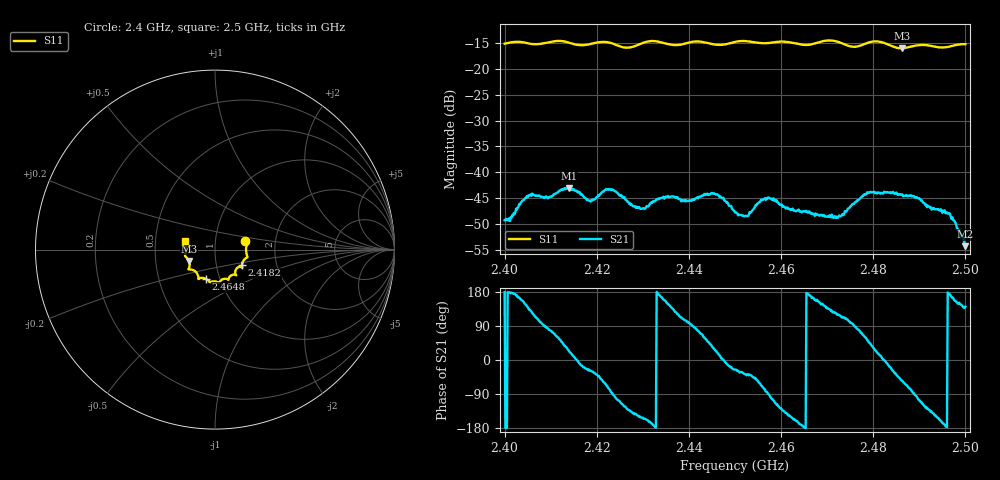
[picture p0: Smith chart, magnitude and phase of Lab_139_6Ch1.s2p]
# Hz S RI R 50
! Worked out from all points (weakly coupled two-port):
!   601 points, 2.4 GHz to 2.5 GHz, reference 50 ohm
!   highest |S21| = -42.99 dB at 2.414 GHz (marker M1); lowest = -54.3 dB at 2.5 GHz (marker M2)
!   lowest |S11| = -16.0 dB at 2.4862 GHz (marker M3), VSWR 1.38, Z = 37.1 - j4.8 ohm
!   |S11| at or under -10 dB: start of sweep to end of sweep
!   S12 and S22 are empty: the file has one direction only
!   S11 on the Smith chart (normalised r, x): 2.4 GHz: 1.40, +0.13; 2.4182 GHz: 1.33, -0.23; 2.4648 GHz: 0.86, -0.29; 2.5 GHz: 0.71, +0.07
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2.4e9  0.1689 0.0459  -0.00345 5.89e-05  0 0  0 0
2.405167e9  0.1755 0.0176  -0.0043 0.00419  0 0  0 0
2.409667e9  0.1781 -0.033  0.00106 0.00568  0 0  0 0
2.414e9  0.1725 -0.0474  0.00653 0.00275  0 0  0 0
2.416667e9  0.1549 -0.0684  0.00597 -0.00152  0 0  0 0
2.418167e9  0.1495 -0.0851  0.00475 -0.00248  0 0  0 0
2.4225e9  0.1512 -0.0988  0.00185 -0.00653  0 0  0 0
2.429333e9  0.1129 -0.1318  -0.00387 -0.00236  0 0  0 0
2.433333e9  0.1167 -0.1414  -0.00555 0.000598  0 0  0 0
2.44e9  0.0757 -0.1631  -0.000725 0.00528  0 0  0 0
2.445333e9  0.0589 -0.1624  0.00534 0.00324  0 0  0 0
2.45e9  0.0252 -0.1805  0.00371 -0.00176  0 0  0 0
2.4525e9  0.0196 -0.1843  0.00289 -0.00244  0 0  0 0
2.457333e9  -0.0125 -0.1775  -8.41e-05 -0.00569  0 0  0 0
2.464833e9  -0.0513 -0.163  -0.0042 -0.000337  0 0  0 0
2.466667e9  -0.0715 -0.1576  -0.00385 0.00116  0 0  0 0
2.472333e9  -0.0915 -0.1579  -0.00184 0.00314  0 0  0 0
2.4785e9  -0.1378 -0.1107  0.00334 0.00517  0 0  0 0
2.483333e9  -0.1423 -0.0958  0.00616 -0.0016  0 0  0 0
2.486167e9  -0.1448 -0.0631  0.00355 -0.00493  0 0  0 0
2.496333e9  -0.1622 0.0203  -0.00399 0.000282  0 0  0 0
2.5e9  -0.1669 0.047  -0.0015 0.00122  0 0  0 0
